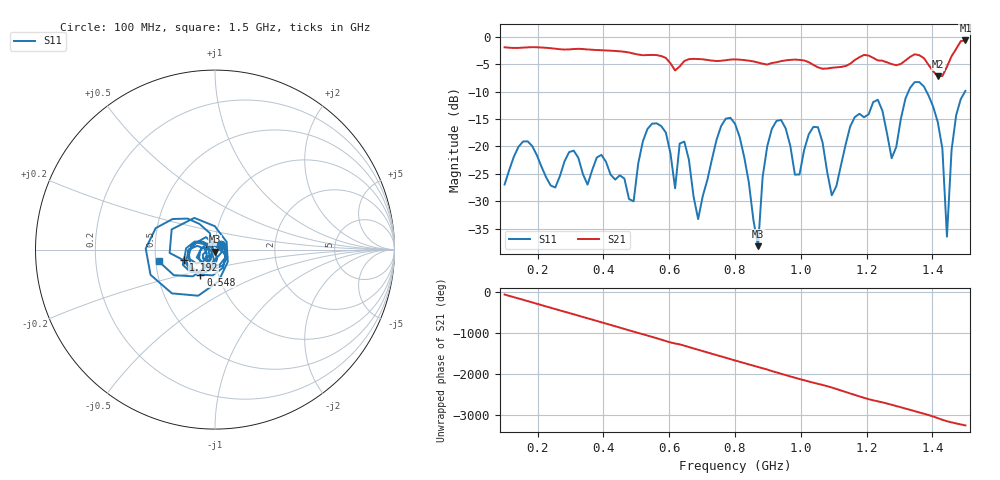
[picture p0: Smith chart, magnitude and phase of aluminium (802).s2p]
! NanoVNA-App
! Date: 2025-09-25 15:01:31
! Start: 100MHz Stop: 1,5GHz Points: 101
! S-Parameter data: F S11 S21 S12 S22
# Hz S RI R 50
!  Frequency  S11_Real  S11_Imag  S21_Real  S21_Imag  S12_Real  S12_Imag  S22_Real  S22_Imag
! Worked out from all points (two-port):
!   101 points, 100 MHz to 1.5 GHz, reference 50 ohm
!   highest |S21| = -0.67 dB at 1.5 GHz (marker M1); lowest = -7.2 dB at 1.416 GHz (marker M2)
!   |S21| within 3 dB of the highest: start of sweep to 582.2 MHz; 1.457 GHz to end of sweep (the widest 2 of 4)
!   lowest |S11| = -38.2 dB at 870 MHz (marker M3), VSWR 1.02, Z = 50.1 - j1.23 ohm
!   |S11| at or under -10 dB: start of sweep to 1.327 GHz; 1.382 GHz to 1.499 GHz (117 MHz wide, 8.12 % of centre)
!   S12 and S22 are empty: the file has one direction only
!   S11 on the Smith chart (normalised r, x): 100 MHz: 1.07, +0.06; 548 MHz: 0.82, -0.23; 1.192 GHz: 0.70, -0.08; 1.5 GHz: 0.52, -0.08
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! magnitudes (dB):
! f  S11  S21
! 100 MHz  -27.0  -1.9
! 156 MHz  -19.1  -2.0
! 338 MHz  -25.1  -2.2
! 492 MHz  -30.0  -3.1
! 548 MHz  -15.9  -3.3
! 576 MHz  -16.3  -3.5
! 618 MHz  -27.7  -6.1
! 646 MHz  -19.1  -4.4
! 688 MHz  -33.3  -4.1
! 800 MHz  -15.9  -4.1
! 870 MHz  -38.2  -4.7
! 912 MHz  -16.8  -4.8
! 996 MHz  -25.1  -4.2
! 1.038 GHz  -16.4  -5.1
! 1.094 GHz  -28.9  -5.7
! 1.192 GHz  -14.7  -3.3
! 1.276 GHz  -22.2  -5.0
! 1.346 GHz  -8.3  -3.2
! 1.416 GHz  -15.5  -7.2
! 1.444 GHz  -36.5  -5.5
! 1.458 GHz  -20.7  -3.5
! 1.5 GHz  -9.9  -0.7
